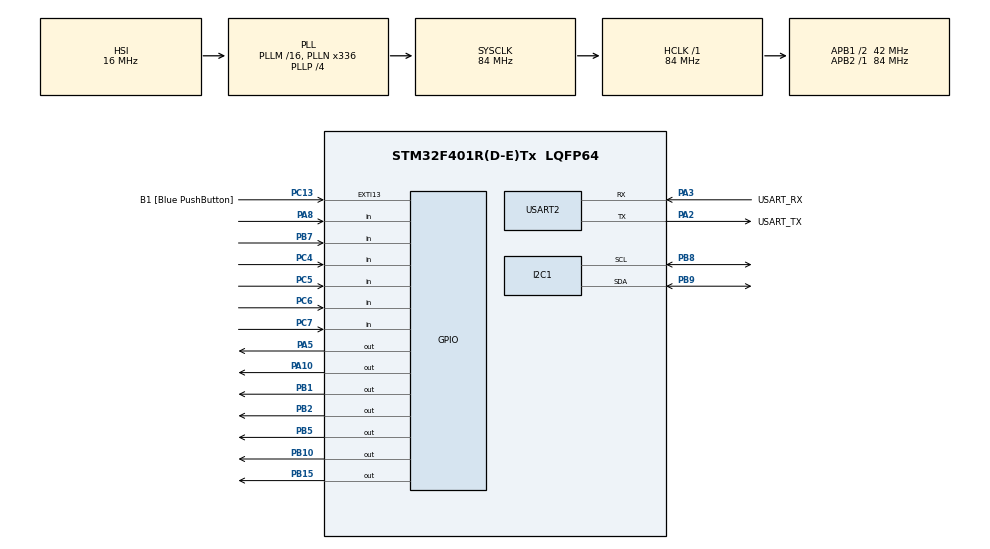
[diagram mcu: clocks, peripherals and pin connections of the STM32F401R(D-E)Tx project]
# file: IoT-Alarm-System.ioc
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Dma.I2C1_RX.0.Direction=DMA_PERIPH_TO_MEMORY
Dma.I2C1_RX.0.FIFOMode=DMA_FIFOMODE_DISABLE
Dma.I2C1_RX.0.Instance=DMA1_Stream0
Dma.I2C1_RX.0.MemDataAlignment=DMA_MDATAALIGN_BYTE
Dma.I2C1_RX.0.MemInc=DMA_MINC_ENABLE
Dma.I2C1_RX.0.Mode=DMA_NORMAL
Dma.I2C1_RX.0.PeriphDataAlignment=DMA_PDATAALIGN_BYTE
Dma.I2C1_RX.0.PeriphInc=DMA_PINC_DISABLE
Dma.I2C1_RX.0.Priority=DMA_PRIORITY_LOW
Dma.I2C1_TX.1.Direction=DMA_MEMORY_TO_PERIPH
Dma.I2C1_TX.1.FIFOMode=DMA_FIFOMODE_DISABLE
Dma.I2C1_TX.1.Instance=DMA1_Stream6
Dma.I2C1_TX.1.MemDataAlignment=DMA_MDATAALIGN_BYTE
Dma.I2C1_TX.1.MemInc=DMA_MINC_ENABLE
Dma.I2C1_TX.1.Mode=DMA_NORMAL
Dma.I2C1_TX.1.PeriphDataAlignment=DMA_PDATAALIGN_BYTE
Dma.I2C1_TX.1.PeriphInc=DMA_PINC_DISABLE
Dma.I2C1_TX.1.Priority=DMA_PRIORITY_LOW
Dma.Request0=I2C1_RX
Dma.Request1=I2C1_TX
Dma.Request2=TIM1_UP
Dma.TIM1_UP.2.Direction=DMA_PERIPH_TO_MEMORY
Dma.TIM1_UP.2.FIFOMode=DMA_FIFOMODE_DISABLE
Dma.TIM1_UP.2.Instance=DMA2_Stream5
Dma.TIM1_UP.2.MemDataAlignment=DMA_MDATAALIGN_HALFWORD
Dma.TIM1_UP.2.MemInc=DMA_MINC_ENABLE
Dma.TIM1_UP.2.Mode=DMA_CIRCULAR
Dma.TIM1_UP.2.PeriphDataAlignment=DMA_PDATAALIGN_HALFWORD
Dma.TIM1_UP.2.PeriphInc=DMA_PINC_DISABLE
Dma.TIM1_UP.2.Priority=DMA_PRIORITY_LOW
Mcu.Family=STM32F4
Mcu.Name=STM32F401R(D-E)Tx
Mcu.Package=LQFP64
NVIC.DMA1_Stream0_IRQn=true\:0\:0\:false\:false\:true\:false\:true\:true
NVIC.DMA1_Stream6_IRQn=true\:0\:0\:false\:false\:true\:false\:true\:true
NVIC.DMA2_Stream5_IRQn=true\:0\:0\:false\:false\:true\:false\:true\:true
NVIC.PriorityGroup=NVIC_PRIORITYGROUP_4
NVIC.TIM2_IRQn=true\:0\:0\:false\:false\:true\:true\:true\:true
PA10.Signal=GPIO_Output
PA13.GPIO_Label=TMS
PA13.Mode=Trace_Asynchronous_SW
PA13.Signal=SYS_JTMS-SWDIO
PA14.GPIO_Label=TCK
PA14.Mode=Trace_Asynchronous_SW
PA14.Signal=SYS_JTCK-SWCLK
PA2.GPIO_Label=USART_TX
PA2.GPIO_Mode=GPIO_MODE_AF_PP
PA2.GPIO_PuPd=GPIO_NOPULL
PA2.GPIO_Speed=GPIO_SPEED_FREQ_LOW
PA2.Mode=Asynchronous
PA2.Signal=USART2_TX
PA3.GPIO_Label=USART_RX
PA3.GPIO_Mode=GPIO_MODE_AF_PP
PA3.GPIO_PuPd=GPIO_NOPULL
PA3.GPIO_Speed=GPIO_SPEED_FREQ_LOW
PA3.Mode=Asynchronous
PA3.Signal=USART2_RX
PA5.Signal=GPIO_Output
PA8.Signal=GPIO_Input
PB1.Signal=GPIO_Output
PB10.Signal=GPIO_Output
PB15.Signal=GPIO_Output
PB2.Signal=GPIO_Output
PB3.GPIO_Label=SWO
PB3.Mode=Trace_Asynchronous_SW
PB3.Signal=SYS_JTDO-SWO
PB5.GPIO_PuPd=GPIO_PULLUP
PB5.Signal=GPIO_Output
PB7.Signal=GPIO_Input
PB8.Mode=I2C
PB8.Signal=I2C1_SCL
PB9.Mode=I2C
PB9.Signal=I2C1_SDA
PC13-ANTI_TAMP.GPIO_Label=B1 [Blue PushButton]
PC13-ANTI_TAMP.GPIO_ModeDefaultEXTI=GPIO_MODE_IT_FALLING
PC13-ANTI_TAMP.GPIO_PuPd=GPIO_NOPULL
PC13-ANTI_TAMP.Signal=GPXTI13
PC14-OSC32_IN.Mode=LSE-External-Oscillator
PC14-OSC32_IN.Signal=RCC_OSC32_IN
PC15-OSC32_OUT.Mode=LSE-External-Oscillator
PC15-OSC32_OUT.Signal=RCC_OSC32_OUT
PC4.GPIO_PuPd=GPIO_PULLUP
PC4.Signal=GPIO_Input
PC5.GPIO_PuPd=GPIO_PULLUP
PC5.Signal=GPIO_Input
PC6.GPIO_PuPd=GPIO_PULLUP
PC6.Signal=GPIO_Input
PC7.GPIO_PuPd=GPIO_PULLUP
PC7.Signal=GPIO_Input
PH0\ -\ OSC_IN.Mode=HSE-External-Clock-Source
PH0\ -\ OSC_IN.Signal=RCC_OSC_IN
PH1\ -\ OSC_OUT.Mode=HSE-External-Clock-Source
PH1\ -\ OSC_OUT.Signal=RCC_OSC_OUT
ProjectManager.HeapSize=0x200
ProjectManager.StackSize=0x400
ProjectManager.TargetToolchain=STM32CubeIDE
RCC.48MHZClocksFreq_Value=48000000
RCC.AHBFreq_Value=84000000
RCC.APB1CLKDivider=RCC_HCLK_DIV2
RCC.APB1Freq_Value=42000000
RCC.APB1TimFreq_Value=84000000
RCC.APB2Freq_Value=84000000
RCC.APB2TimFreq_Value=84000000
RCC.CortexFreq_Value=84000000
RCC.HCLKFreq_Value=84000000
RCC.HSE_VALUE=8000000
RCC.HSI_VALUE=16000000
RCC.PLLN=336
RCC.PLLP=RCC_PLLP_DIV4
RCC.PLLQ=7
RCC.SYSCLKFreq_VALUE=84000000
RCC.SYSCLKSource=RCC_SYSCLKSOURCE_PLLCLK
RCC.VCOOutputFreq_Value=336000000
TIM1.Period=499
TIM1.Prescaler=8399
TIM2.Period=999
TIM2.Prescaler=8399
USART2.VirtualMode=VM_ASYNC
VP_TIM1_VS_ClockSourceINT.Mode=Internal
VP_TIM2_VS_ClockSourceINT.Mode=Internal
board=NUCLEO-F401RE

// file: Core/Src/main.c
/* USER CODE BEGIN Header */
/**
 ******************************************************************************
 * @file           : main.c
 * @brief          : Smart Alarm System with Reed Switch
 ******************************************************************************
 * @attention
 *
 * Copyright (c) 2024 STMicroelectronics.
 * All rights reserved.
 *
 * This software is licensed under terms that can be found in the LICENSE file
 * in the root directory of this software component.
 * If no LICENSE file comes with this software, it is provided AS-IS.
 *
 ******************************************************************************
 */
/* USER CODE END Header */
#include "main.h"

/* USER CODE BEGIN Includes */
#include "config.h"
#include "display.h"
#include "flashMemory.h"
#include "stdio.h"
#include "string.h"
#include "ctype.h"
#include "pinCode.h"
#include "esp32.h"
#include "keypad.h"
/* USER CODE END Includes */

I2C_HandleTypeDef hi2c1;
DMA_HandleTypeDef hdma_i2c1_rx;
DMA_HandleTypeDef hdma_i2c1_tx;

TIM_HandleTypeDef htim1;
TIM_HandleTypeDef htim2;
DMA_HandleTypeDef hdma_tim1_up;

UART_HandleTypeDef huart2;

/* USER CODE BEGIN PV */
volatile uint8_t alarm_flag = 0;
volatile uint8_t key_pressed = 0;
volatile uint8_t reed_triggered = 0;
char last_key = '\0';
uint32_t last_key_time = 0;
uint32_t last_reed_time = 0;
uint32_t start_time = 0;
bool toggle = false;
bool message_sent = false;

// Main loop timing variables
uint32_t loop_start_time = 0;

PincodeState pincodeState;

char rx_data[DATA_SIZE];

uint8_t value = 0;
char str1[17] = { '\0' };
char str2[17] = { '\0' };
char str3[17] = { '\0' };
char str4[17] = { '\0' };
char tmp_str[65] = { '\0' };

// Delay function:
#define	Precise_Delay(x) {\
	uint32_t x1 = x * 72;\
	DWT->CYCCNT = 0;\
	while (DWT->CYCCNT < x1);\
}

/* USER CODE END PV */

void SystemClock_Config(void);
static void MX_GPIO_Init(void);
static void MX_DMA_Init(void);
static void MX_USART2_UART_Init(void);
static void MX_I2C1_Init(void);
static void MX_TIM2_Init(void);
static void MX_TIM1_Init(void);
/* USER CODE BEGIN PFP */
int ScanI2CDevices(void);
void TriggerAlarm(void);
void StopAlarm(void);
void HandleReedSwitch(void);
void HandlePIRMotion(void);

/* USER CODE END PFP */

/* USER CODE BEGIN 0 */
int __io_putchar(int ch) {
	HAL_UART_Transmit(&huart2, (uint8_t*) &ch, 1, HAL_MAX_DELAY);
	return ch;
}
int fputc(int ch, FILE *f) {
	return __io_putchar(ch);
}

/* USER CODE END 0 */

int main(void) {

	/* USER CODE BEGIN 1 */
	uint8_t data[] = { 0xFF, 0x0 };
	/* USER CODE END 1 */

	/* MCU Configuration--------------------------------------------------------*/

	/* Reset of all peripherals, Initializes the Flash interface and the Systick. */
	HAL_Init();

	/* Configure the system clock */
	SystemClock_Config();

	/* Initialize all configured peripherals */
	MX_GPIO_Init();
	MX_DMA_Init();
	MX_USART2_UART_Init();
	MX_I2C1_Init();
	MX_TIM2_Init();
	MX_TIM1_Init();
	/* USER CODE BEGIN 2 */
	setvbuf(stdout, NULL, _IONBF, 0); //disable waiting for newline
	printf("Booting STM32...\r\n");
	Display_Init();
	Display_BootMessage();
	printf("Display initialized...\r\n");
	Pincode_Init(&pincodeState);

	// Enable ESP32
	HAL_GPIO_WritePin(ESP32_EN_Port, ESP32_EN, GPIO_PIN_SET);
	HAL_Delay(8000); // Give more time to the ESP to boot and initialize I2C completely

	// Read saved pincode from flash
	uint32_t saved_pincode = ReadFromFlash(address1);
	char pincode_str[12];
	sprintf(pincode_str, "%lu", (unsigned long) saved_pincode);

	// Scan I2C devices
	ScanI2CDevices();
	HAL_Delay(1000);

	// Get IP from ESP32
	printf("\nRequesting IP address to ESP32");
	esp32getIP();

	HAL_Delay(1000);
	// Show system status
	Display_SystemStatus(pincodeState.system_armed);
	char pressed_key = '\0';
	if (wifi_connected) {
		HAL_TIM_Base_Start(&htim1);
		HAL_DMA_Start(&hdma_tim1_up, (uint32_t) data, (uint32_t) &GPIOA->ODR,
				5);
		__HAL_TIM_ENABLE_DMA(&htim1, TIM_DMA_UPDATE);
	}

	/* USER CODE END 2 */

	/* Infinite loop */
	/* USER CODE BEGIN WHILE */
	/* Main loop */
	while (1) {
		// Record start time for main loop timing control
		loop_start_time = HAL_GetTick();

		// Check if system is locked
		if (pincodeState.system_locked) {
			uint32_t remaining = (LOCKOUT_TIME_MS
					- (HAL_GetTick() - pincodeState.lockout_start)) / 1000;
			Display_LockedScreen(remaining);

			if ((HAL_GetTick() - pincodeState.lockout_start) >= LOCKOUT_TIME_MS) {
				pincodeState.system_locked = false;
				pincodeState.pin_attempts = 0;
				Display_SystemStatus(pincodeState.system_armed);
			}
			HAL_Delay(100);
			continue;
		}

		// Scan keypad
		pressed_key = scan_keypad();
		if (pressed_key != '\0') {
			handle_keypress(pressed_key);
		}

		// Check reed switch status
		HandleReedSwitch();

		// Handle alarm
		if (alarm_flag) {
			if (start_time == 0) {
				start_time = HAL_GetTick();
				printf("Alarm start: start_time = %lu\r\n", start_time);
			}

			// Keep buzzer active during alarm (toggle every 100ms)
			HAL_GPIO_TogglePin(GPIOA, BUZZER_PIN);

			// If we are not entering the PIN, continue with the flashing display
			if (!pincodeState.entering_pin_during_alarm) {
				Display_AlarmScreen(toggle);
				toggle = !toggle;
			}

			HAL_Delay(100);
		} else {
			// If the alarm has been stopped, make sure the buzzer is off
			HAL_GPIO_WritePin(GPIOA, BUZZER_PIN, GPIO_PIN_RESET);
		}

		// Handle PIR
		HandlePIRMotion();

		// Main loop timing control - ensure 250ms cycle time
		uint32_t loop_execution_time = HAL_GetTick() - loop_start_time;

		// Print timing information for debugging
		printf("Loop execution time: %lu ms, Target: %lu ms\r\n",
			   loop_execution_time, MAIN_LOOP_PERIOD_MS);

		if (loop_execution_time > MAIN_LOOP_PERIOD_MS) {
			printf("WARNING: Loop execution time (%lu ms) exceeded target period (%lu ms)!\r\n",
				   loop_execution_time, MAIN_LOOP_PERIOD_MS);
		} else {
			uint32_t delay_time = MAIN_LOOP_PERIOD_MS - loop_execution_time;
			printf("Adding delay: %lu ms to reach 250ms target\r\n", delay_time);
			HAL_Delay(delay_time);
		}

		// Print total loop time after delay
		uint32_t total_loop_time = HAL_GetTick() - loop_start_time;
		printf("Total loop time: %lu ms\r\n\r\n", total_loop_time);
	}

	/* USER CODE END WHILE */

}

void SystemClock_Config(void) {
	RCC_OscInitTypeDef RCC_OscInitStruct = { 0 };
	RCC_ClkInitTypeDef RCC_ClkInitStruct = { 0 };

	/** Configure the main internal regulator output voltage
	 */
	__HAL_RCC_PWR_CLK_ENABLE();
	__HAL_PWR_VOLTAGESCALING_CONFIG(PWR_REGULATOR_VOLTAGE_SCALE2);

	/** Initializes the RCC Oscillators according to the specified parameters
	 * in the RCC_OscInitTypeDef structure.
	 */
	RCC_OscInitStruct.OscillatorType = RCC_OSCILLATORTYPE_HSI;
	RCC_OscInitStruct.HSIState = RCC_HSI_ON;
	RCC_OscInitStruct.HSICalibrationValue = RCC_HSICALIBRATION_DEFAULT;
	RCC_OscInitStruct.PLL.PLLState = RCC_PLL_ON;
	RCC_OscInitStruct.PLL.PLLSource = RCC_PLLSOURCE_HSI;
	RCC_OscInitStruct.PLL.PLLM = 16;
	RCC_OscInitStruct.PLL.PLLN = 336;
	RCC_OscInitStruct.PLL.PLLP = RCC_PLLP_DIV4;
	RCC_OscInitStruct.PLL.PLLQ = 7;
	if (HAL_RCC_OscConfig(&RCC_OscInitStruct) != HAL_OK) {
		Error_Handler();
	}

	/** Initializes the CPU, AHB and APB buses clocks
	 */
	RCC_ClkInitStruct.ClockType = RCC_CLOCKTYPE_HCLK | RCC_CLOCKTYPE_SYSCLK
			| RCC_CLOCKTYPE_PCLK1 | RCC_CLOCKTYPE_PCLK2;
	RCC_ClkInitStruct.SYSCLKSource = RCC_SYSCLKSOURCE_PLLCLK;
	RCC_ClkInitStruct.AHBCLKDivider = RCC_SYSCLK_DIV1;
	RCC_ClkInitStruct.APB1CLKDivider = RCC_HCLK_DIV2;
	RCC_ClkInitStruct.APB2CLKDivider = RCC_HCLK_DIV1;

	if (HAL_RCC_ClockConfig(&RCC_ClkInitStruct, FLASH_LATENCY_2) != HAL_OK) {
		Error_Handler();
	}
}

static void MX_I2C1_Init(void) {

	hi2c1.Instance = I2C1;
	hi2c1.Init.ClockSpeed = 100000;
	hi2c1.Init.DutyCycle = I2C_DUTYCYCLE_2;
	hi2c1.Init.OwnAddress1 = 0;
	hi2c1.Init.AddressingMode = I2C_ADDRESSINGMODE_7BIT;
	hi2c1.Init.DualAddressMode = I2C_DUALADDRESS_DISABLE;
	hi2c1.Init.OwnAddress2 = 0;
	hi2c1.Init.GeneralCallMode = I2C_GENERALCALL_DISABLE;
	hi2c1.Init.NoStretchMode = I2C_NOSTRETCH_DISABLE;
	if (HAL_I2C_Init(&hi2c1) != HAL_OK) {
		Error_Handler();
	}

}

static void MX_TIM1_Init(void) {

	TIM_ClockConfigTypeDef sClockSourceConfig = { 0 };
	TIM_MasterConfigTypeDef sMasterConfig = { 0 };

	htim1.Instance = TIM1;
	htim1.Init.Prescaler = 8399;
	htim1.Init.CounterMode = TIM_COUNTERMODE_UP;
	htim1.Init.Period = 499;
	htim1.Init.ClockDivision = TIM_CLOCKDIVISION_DIV1;
	htim1.Init.RepetitionCounter = 0;
	htim1.Init.AutoReloadPreload = TIM_AUTORELOAD_PRELOAD_DISABLE;
	if (HAL_TIM_Base_Init(&htim1) != HAL_OK) {
		Error_Handler();
	}
	sClockSourceConfig.ClockSource = TIM_CLOCKSOURCE_INTERNAL;
	if (HAL_TIM_ConfigClockSource(&htim1, &sClockSourceConfig) != HAL_OK) {
		Error_Handler();
	}
	sMasterConfig.MasterOutputTrigger = TIM_TRGO_RESET;
	sMasterConfig.MasterSlaveMode = TIM_MASTERSLAVEMODE_DISABLE;
	if (HAL_TIMEx_MasterConfigSynchronization(&htim1, &sMasterConfig)
			!= HAL_OK) {
		Error_Handler();
	}

}

static void MX_TIM2_Init(void) {

	TIM_ClockConfigTypeDef sClockSourceConfig = { 0 };
	TIM_MasterConfigTypeDef sMasterConfig = { 0 };

	htim2.Instance = TIM2;
	htim2.Init.Prescaler = 8399;
	htim2.Init.CounterMode = TIM_COUNTERMODE_UP;
	htim2.Init.Period = 999;
	htim2.Init.ClockDivision = TIM_CLOCKDIVISION_DIV1;
	htim2.Init.AutoReloadPreload = TIM_AUTORELOAD_PRELOAD_DISABLE;
	if (HAL_TIM_Base_Init(&htim2) != HAL_OK) {
		Error_Handler();
	}
	sClockSourceConfig.ClockSource = TIM_CLOCKSOURCE_INTERNAL;
	if (HAL_TIM_ConfigClockSource(&htim2, &sClockSourceConfig) != HAL_OK) {
		Error_Handler();
	}
	sMasterConfig.MasterOutputTrigger = TIM_TRGO_RESET;
	sMasterConfig.MasterSlaveMode = TIM_MASTERSLAVEMODE_DISABLE;
	if (HAL_TIMEx_MasterConfigSynchronization(&htim2, &sMasterConfig)
			!= HAL_OK) {
		Error_Handler();
	}

}

static void MX_USART2_UART_Init(void) {

	huart2.Instance = USART2;
	huart2.Init.BaudRate = 115200;
	huart2.Init.WordLength = UART_WORDLENGTH_8B;
	huart2.Init.StopBits = UART_STOPBITS_1;
	huart2.Init.Parity = UART_PARITY_NONE;
	huart2.Init.Mode = UART_MODE_TX_RX;
	huart2.Init.HwFlowCtl = UART_HWCONTROL_NONE;
	huart2.Init.OverSampling = UART_OVERSAMPLING_16;
	if (HAL_UART_Init(&huart2) != HAL_OK) {
		Error_Handler();
	}

}

static void MX_DMA_Init(void) {

	/* DMA controller clock enable */
	__HAL_RCC_DMA1_CLK_ENABLE();
	__HAL_RCC_DMA2_CLK_ENABLE();

	/* DMA interrupt init */
	/* DMA1_Stream0_IRQn interrupt configuration */
	HAL_NVIC_SetPriority(DMA1_Stream0_IRQn, 0, 0);
	HAL_NVIC_EnableIRQ(DMA1_Stream0_IRQn);
	/* DMA1_Stream6_IRQn interrupt configuration */
	HAL_NVIC_SetPriority(DMA1_Stream6_IRQn, 0, 0);
	HAL_NVIC_EnableIRQ(DMA1_Stream6_IRQn);
	/* DMA2_Stream5_IRQn interrupt configuration */
	HAL_NVIC_SetPriority(DMA2_Stream5_IRQn, 0, 0);
	HAL_NVIC_EnableIRQ(DMA2_Stream5_IRQn);

}

static void MX_GPIO_Init(void) {
	GPIO_InitTypeDef GPIO_InitStruct = { 0 };

	/* GPIO Ports Clock Enable */
	__HAL_RCC_GPIOC_CLK_ENABLE();
	__HAL_RCC_GPIOH_CLK_ENABLE();
	__HAL_RCC_GPIOA_CLK_ENABLE();
	__HAL_RCC_GPIOB_CLK_ENABLE();

	/*Configure GPIO pin Output Level */
	HAL_GPIO_WritePin(GPIOA, GPIO_PIN_5 | GPIO_PIN_10, GPIO_PIN_RESET);

	/*Configure GPIO pin Output Level */
	HAL_GPIO_WritePin(GPIOB,
	GPIO_PIN_1 | GPIO_PIN_2 | GPIO_PIN_10 | GPIO_PIN_15 | GPIO_PIN_5,
			GPIO_PIN_RESET);

	/*Configure GPIO pin : B1_Pin */
	GPIO_InitStruct.Pin = B1_Pin;
	GPIO_InitStruct.Mode = GPIO_MODE_IT_FALLING;
	GPIO_InitStruct.Pull = GPIO_NOPULL;
	HAL_GPIO_Init(B1_GPIO_Port, &GPIO_InitStruct);

	/*Configure GPIO pins : PA5 PA10 */
	GPIO_InitStruct.Pin = GPIO_PIN_5 | GPIO_PIN_10;
	GPIO_InitStruct.Mode = GPIO_MODE_OUTPUT_PP;
	GPIO_InitStruct.Pull = GPIO_NOPULL;
	GPIO_InitStruct.Speed = GPIO_SPEED_FREQ_LOW;
	HAL_GPIO_Init(GPIOA, &GPIO_InitStruct);

	/*Configure GPIO pins : PC4 PC5 PC6 PC7 */
	GPIO_InitStruct.Pin = GPIO_PIN_4 | GPIO_PIN_5 | GPIO_PIN_6 | GPIO_PIN_7;
	GPIO_InitStruct.Mode = GPIO_MODE_INPUT;
	GPIO_InitStruct.Pull = GPIO_PULLUP;
	HAL_GPIO_Init(GPIOC, &GPIO_InitStruct);

	/*Configure GPIO pins : PB1 PB2 PB10 PB15 */
	GPIO_InitStruct.Pin = GPIO_PIN_1 | GPIO_PIN_2 | GPIO_PIN_10 | GPIO_PIN_15;
	GPIO_InitStruct.Mode = GPIO_MODE_OUTPUT_PP;
	GPIO_InitStruct.Pull = GPIO_NOPULL;
	GPIO_InitStruct.Speed = GPIO_SPEED_FREQ_LOW;
	HAL_GPIO_Init(GPIOB, &GPIO_InitStruct);

	/*Configure GPIO pin : PA8 */
	GPIO_InitStruct.Pin = GPIO_PIN_8;
	GPIO_InitStruct.Mode = GPIO_MODE_INPUT;
	GPIO_InitStruct.Pull = GPIO_NOPULL;
	HAL_GPIO_Init(GPIOA, &GPIO_InitStruct);

	/*Configure GPIO pin : PB5 */
	GPIO_InitStruct.Pin = GPIO_PIN_5;
	GPIO_InitStruct.Mode = GPIO_MODE_OUTPUT_PP;
	GPIO_InitStruct.Pull = GPIO_PULLUP;
	GPIO_InitStruct.Speed = GPIO_SPEED_FREQ_LOW;
	HAL_GPIO_Init(GPIOB, &GPIO_InitStruct);

	/*Configure GPIO pin : PB7 */
	GPIO_InitStruct.Pin = GPIO_PIN_7;
	GPIO_InitStruct.Mode = GPIO_MODE_INPUT;
	GPIO_InitStruct.Pull = GPIO_NOPULL;
	HAL_GPIO_Init(GPIOB, &GPIO_InitStruct);

	/* USER CODE BEGIN MX_GPIO_Init_2 */
	/* Configure PA8 as input for reed switch with interrupt */
	GPIO_InitStruct.Pin = GPIO_PIN_8;
	GPIO_InitStruct.Mode = GPIO_MODE_IT_RISING; // Interrupt on rising edge (reed switch closed)
	GPIO_InitStruct.Pull = GPIO_PULLDOWN;  // Pull-down when reed switch is open
	HAL_GPIO_Init(GPIOA, &GPIO_InitStruct);

	/* Enable and set EXTI interrupt priority */
	HAL_NVIC_SetPriority(EXTI9_5_IRQn, 0, 0);
	HAL_NVIC_EnableIRQ(EXTI9_5_IRQn);
	/* USER CODE END MX_GPIO_Init_2 */
}

/* USER CODE BEGIN 4 */

//Old testing interrupt
void EXTI15_10_IRQHandler(void) {
	if (__HAL_GPIO_EXTI_GET_IT(BUTTON_PIN) != RESET) {
		__HAL_GPIO_EXTI_CLEAR_IT(BUTTON_PIN);
		if (pincodeState.system_armed) {
			TriggerAlarm();
		}
	}
}

void EXTI9_5_IRQHandler(void) {
	if (__HAL_GPIO_EXTI_GET_IT(REED_SWITCH_PIN) != RESET) {
		if ((HAL_GetTick() - last_reed_time) > REED_DEBOUNCE_MS) {
			last_reed_time = HAL_GetTick();
			__HAL_GPIO_EXTI_CLEAR_IT(REED_SWITCH_PIN);
			reed_triggered = 1;
		}
	}
}

void HandleReedSwitch(void) {
	if (reed_triggered && pincodeState.system_armed) {
		reed_triggered = 0;
		// Send message to ESP32
		if (!pincodeState.message_sent) {
			pincodeState.message_sent = true;  // Imposta a true dopo l'invio
			uint8_t send_byte = '3'; // Command to signal open door/window
			HAL_StatusTypeDef tx_status = HAL_I2C_Master_Transmit(&hi2c1,
					(I2C_ADDR << 1), &send_byte, 1, HAL_MAX_DELAY);
		}
		TriggerAlarm();
	}
}

void TriggerAlarm(void) {
	if (!alarm_flag) {
		alarm_flag = 1;
		HAL_GPIO_WritePin(GPIOA, BUZZER_PIN, GPIO_PIN_SET);
		printf("Allarme attivato: alarm_flag = %d\r\n", alarm_flag);
	}
}

void StopAlarm(void) {
	alarm_flag = 0;
	HAL_GPIO_WritePin(GPIOA, BUZZER_PIN, GPIO_PIN_RESET);
	printf("Allarme fermato: alarm_flag = %d, buzzer spento\r\n", alarm_flag);

	// Resettare start_time a zero per futuri allarmi
	extern uint32_t start_time;
	start_time = 0;

	// Assicurarsi che il buzzer sia effettivamente spento
	HAL_GPIO_WritePin(GPIOA, BUZZER_PIN, GPIO_PIN_RESET);

	// Pulire lo schermo ma non aggiornare lo stato perché verrà fatto da Pincode_Check
	ssd1306_Fill(Black);
	ssd1306_UpdateScreen();
}

int ScanI2CDevices(void) {
	const char StartMSG[] = "Starting I2C scan...\r\n";
	const char EndMSG[] = "I2C scan complete.\r\n";
	const uint8_t Space[] = " ";
	char Buffer[32];

	uint8_t i, ret;
	char buffer[16];
	int found = 0;

	ssd1306_Fill(Black);
	ssd1306_SetCursor(0, 0);
	ssd1306_WriteString("I2C Scan:", Font_7x10, White);
	ssd1306_UpdateScreen();

	HAL_Delay(500);

	printf("%s", StartMSG);

	for (i = 1; i < 128; i++) {
		ret = HAL_I2C_IsDeviceReady(&hi2c1, (uint16_t) (i << 1), 3, 5);
		if (ret == HAL_OK) {
			sprintf(Buffer, "0x%X", i);
			HAL_UART_Transmit(&huart2, Buffer, sizeof(Buffer), 10000);

			sprintf(buffer, "Found: 0x%02X", i);
			ssd1306_SetCursor(0, 16 + found * 10);
			ssd1306_WriteString(buffer, Font_6x8, White);
			ssd1306_UpdateScreen();

			HAL_Delay(300);
			found++;
			if (found > 4)
				break;
		} else {
			HAL_UART_Transmit(&huart2, Space, sizeof(Space), 10000);
		}
	}

	HAL_UART_Transmit(&huart2, EndMSG, sizeof(EndMSG), 10000);
	return found;
}

void HandlePIRMotion(void) {
	static uint32_t last_pir_time = 0;
	static uint8_t pir_triggered = 0;

	// Read the current status of the PIR sensor
	uint8_t current_pir_state = HAL_GPIO_ReadPin(PIR_PORT, PIR_PIN);

	// If the sensor is active and the system is armed
	if (current_pir_state == GPIO_PIN_SET && pincodeState.system_armed) {
		// PIR Sensor Debounce
		if ((HAL_GetTick() - last_pir_time) > REED_DEBOUNCE_MS) {
			pir_triggered = 1;
			last_pir_time = HAL_GetTick();
			printf("Movement detected! Alarm activated.\r\n");
		}
	}

	// If motion was detected
	if (pir_triggered) {
		// If the message has not been sent yet
		if (!pincodeState.message_sent) {
			pincodeState.message_sent = true;  // Set to true after submit
			uint8_t send_byte = '2'; // Command to signal movement
			HAL_StatusTypeDef tx_status = HAL_I2C_Master_Transmit(&hi2c1,
					(I2C_ADDR << 1), &send_byte, 1, HAL_MAX_DELAY);
		}

		// Trigger the alarm
		TriggerAlarm();
		pir_triggered = 0;
	}
}

void HAL_TIM_PWM_PulseFinishedCallback(TIM_HandleTypeDef *htim) {
	if (htim->Instance == TIM2) {
		printf("DMA transfer completed for TIM2_CH1.\n");
	}
}

/* USER CODE END 4 */

void Error_Handler(void) {
	__disable_irq();
	while (1) {
	}
}
